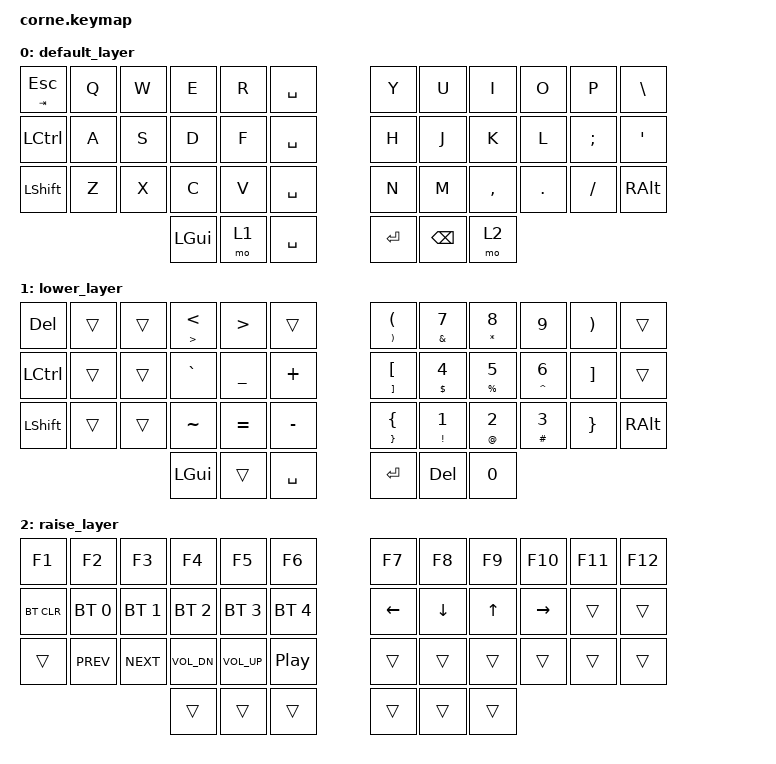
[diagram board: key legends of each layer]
#include <behaviors.dtsi>
#include <dt-bindings/zmk/keys.h>
#include <dt-bindings/zmk/bt.h>

&mt {
    tapping_term_ms = <200>;
};

    

/ {
        keymap {
                compatible = "zmk,keymap";

                default_layer {
// -----------------------------------------------------------------------------------------
// |  ESC |  Q  |  W  |  E  |  R  |  T  |   |  Y  |  U   |  I  |  O  |  P  |  DEL |
// | CTRL |  A  |  S  |  D  |  F  |  G  |   |  H  |  J   |  K  |  L  |  ;  |  '   |
// | SHFT |  Z  |  X  |  C  |  V  |  B  |   |  N  |  M   |  ,  |  .  |  /  |  ALT |
//                    | GUI | LWR | SPC |   | ENT | BKSP  | RSE |
                        bindings = <
 &mt TAB ESC &kp Q &kp W &kp E &kp R &kp SPACE   &kp Y &kp U  &kp I     &kp O   &kp P    &kp BACKSLASH
   &kp LCTRL &kp A &kp S &kp D &kp F &kp SPACE   &kp H &kp J  &kp K     &kp L   &kp SEMI &kp SQT
   &kp LSHFT &kp Z &kp X &kp C &kp V &kp SPACE   &kp N &kp M  &kp COMMA &kp DOT &kp FSLH &kp RALT
                  &kp LGUI &mo 1 &kp SPACE   &kp RET &kp BSPC &mo 2
                        >;
                };


                lower_layer {
// -----------------------------------------------------------------------------------------
// |  DEL |     |     |  <  |  >  |      |     |  (  |  7  |  8  |  9  |  )  |  \   |
// | CTRL |     |     |  `  |  _  |  +   |     |  [  |  4  |  5  |  6  |  ]  |      |
// | SHFT |     |     |  ~  |  =  |  -   |     |  {  |  1  |  2  |  3  |  }  | RALT |
//                     | GUI |     | SPC |     | ENT | BKSP |  0  |
                        bindings = <
   &kp DEL   &trans  &trans  &mt GT LT  &kp GT     &trans          &mt RPAR LPAR &mt AMPS N7  &mt ASTRK N8  &kp N9       &kp RPAR &trans
   &kp LCTRL &trans  &trans  &kp GRAVE  &kp UNDER  &kp PLUS        &mt RBKT LBKT &mt DLLR N4  &mt PRCNT N5  &mt CARET N6 &kp RBKT &trans
   &kp LSHFT &trans  &trans  &kp TILDE  &kp EQUAL  &kp MINUS       &mt RBRC LBRC &mt EXCL N1  &mt AT N2     &mt HASH N3  &kp RBRC &kp RALT
                              &kp LGUI &trans &kp SPACE      &kp RET &kp DEL  &kp N0
                        >;
                };

                raise_layer {
// -----------------------------------------------------------------------------------------
// |  F1   |  F2  |  F3  |  F4  |  F5  |  F6  |            |  F7  |  F8  |  F9  |  F10  |  F11  |  F12  |
// | BTCLR | BT1  | BT2  | BT3  | BT4  | BT5  |            | LFT  | DWN  |  UP  |  RGT  |       |       |
// |       | Prev | Next | Vol - | Vol + | Play/Pause |    |      |      |      |       |       |       |
//                       |      |      |      |            |      |      |      |
                        bindings = <
   &kp F1     &kp F2        &kp F3       &kp F4       &kp F5       &kp F6          &kp F7   &kp F8   &kp F9   &kp F10   &kp F11 &kp F12
   &bt BT_CLR &bt BT_SEL 0  &bt BT_SEL 1 &bt BT_SEL 2 &bt BT_SEL 3 &bt BT_SEL 4    &kp LEFT &kp DOWN &kp UP   &kp RIGHT &trans  &trans
   &trans     &kp C_PREV    &kp C_NEXT   &kp C_VOL_DN &kp C_VOL_UP &kp C_PP        &trans   &trans   &trans   &trans    &trans  &trans
                          	                    &trans   &trans   &trans       &trans   &trans   &trans
                        >;
                };
        };
};
